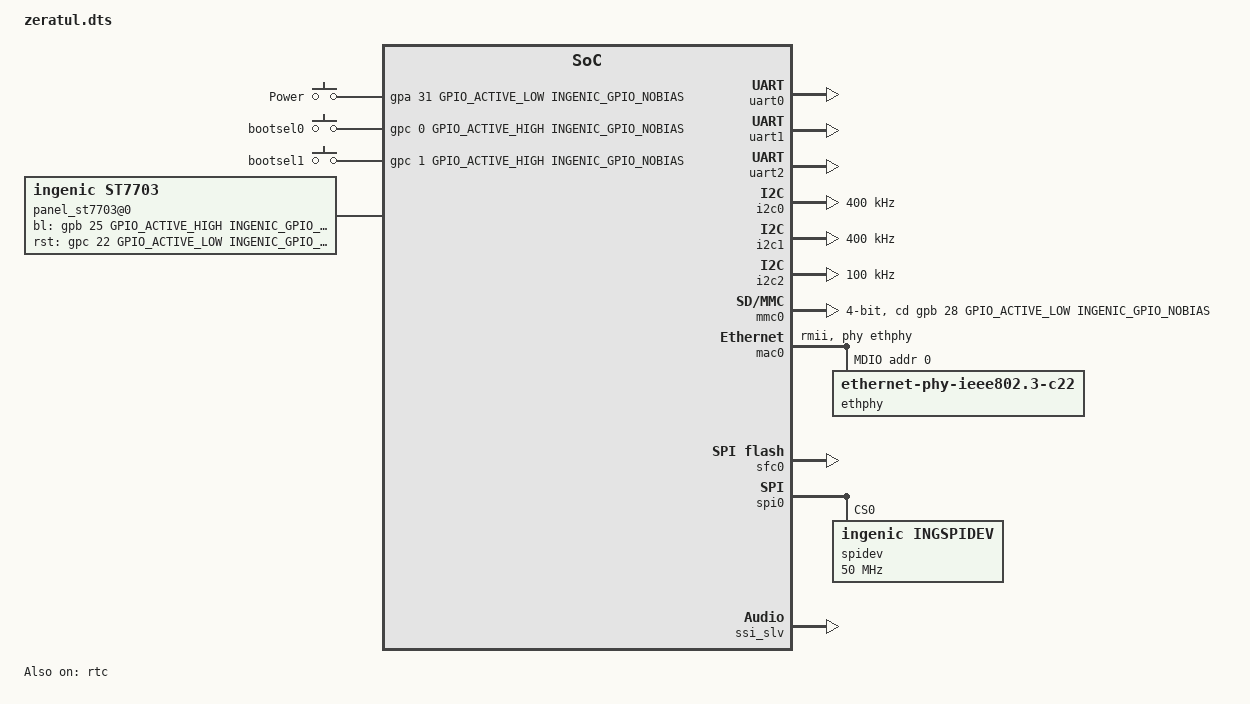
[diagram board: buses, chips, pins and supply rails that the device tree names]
/dts-v1/;

#include <dt-bindings/input/input.h>
#include "PRJ007.dtsi"
#include <dt-bindings/interrupt-controller/irq.h>

/ {
	compatible = "ingenic,zeratul", "ingenic,PRJ007";
	chosen {
		rng-seed = <0x3f3c0135 0x1101efde 0x1b64830c 0xbd77766 0x7e6a426b 0xebfd3b59 0x91fd33f6 0x2b47fe5>;
	};
};

&rtc {
	status = "okay";
};

&uart0 {
	status = "okay";
	pinctrl-names = "default";
	pinctrl-0 = <&uart0_pb>;
};

&uart1 {
	status = "okay";
	pinctrl-names = "default";
	pinctrl-0 = <&uart1_pb>;
};

&uart2 {
	status = "okay";
	pinctrl-names = "default";
	pinctrl-0 = <&uart2_pc>;
};

&i2c0 {
	pinctrl-0 = <&i2c0_pa>;
	pinctrl-names = "default";
	clock-frequency = <400000>;
	status = "okay";
};

&i2c1 {
	pinctrl-0 = <&i2c1_pa>;
	pinctrl-names = "default";
	clock-frequency = <400000>;
	status = "okay";
};

&i2c2 {
	pinctrl-0 = <&i2c2_pc>;
	pinctrl-names = "default";
	clock-frequency = <100000>;
	status = "okay";
};

&cpufreq {
	status = "okay";
	operating-points = <
		/*KHZ uV */
		1200000	900000
		750000	900000
		600000	900000
		500000	900000
		400000	900000
		375000	900000
		300000	900000
		200000	900000
			>;

};

//&pwm {
//	ingenic,pwm-outputs = <0>; /* <0 - 15> select which pwms are really used */
//}

&pdma {
	status = "okay";
};

&mmc0 {
	status = "okay";
	pinctrl-names = "default";
	max-frequency = <25000000>;
	voltage-ranges = <1800 3300>;

	cap-mmc-highspeed;
	//sd-uhs-sdr50;
	bus-width = <4>;
	//cd-inverted;
	//ingenic,removal-removable = <1>;
	//sdr-gpios = <&gpa 17 GPIO_ACTIVE_HIGH INGENIC_GPIO_NOBIAS>;
	cd-gpios = <&gpb 28 GPIO_ACTIVE_LOW INGENIC_GPIO_NOBIAS>;
	wp-gpios = <0>;
	pinctrl-0 = <&msc0_pb>;
	rst-gpios = <0>;
//	driver-strength = <8>;/* 4: 4ma, 8: 8ma, 12: 12ma */
//	gpio-pull-flag = <1>; /* 0: no pull, 1: pull up, 2: pull dowm */

	/*mmc-hs200-1_8v;
	bus-width = <8>;
	non-removable;
	pinctrl-0 = <&msc0_8bit_low>,<&msc0_8bit_high>;
	ingenic,poc-v1.8;*/

	/*mmc-hs400-1_8v;
	bus-width = <8>;
	non-removable;
	pinctrl-0 = <&msc0_8bit_low>,<&msc0_8bit_high>,<&msc0_ds>;
	ingenic,poc-v1.8;*/

	//pio-mode;
};

&mmc1 {
	status = "disable";
	pinctrl-names = "default";
	/*mmc-hs200-1_8v;*/
	cap-mmc-highspeed;
	max-frequency = <50000000>;
	bus-width = <4>;
	voltage-ranges = <1800 3300>;
	non-removable;
//	driver-strength = <8>;/* 4: 4ma, 8: 8ma, 12: 12ma */
//	gpio-pull-flag = <1>;/* 0: no pull, 1: pull up, 2: pull dowm */

	/* special property */
	ingenic,wp-gpios = <0>;
	ingenic,rst-gpios = <0>;
	pinctrl-0 = <&msc1_pc>;
};

&mac0 {
	pinctrl-names = "default", "reset";
	pinctrl-0 = <&mac0_rmii_p0_normal>, <&mac0_rmii_p1_normal>;
	pinctrl-1 = <&mac0_rmii_p0_rst>, <&mac0_rmii_p1_normal>;
	status = "okay";
	ingenic,rst-gpio = <&gpb 26 GPIO_ACTIVE_LOW INGENIC_GPIO_NOBIAS>;
	ingenic,rst-ms = <10>;
	ingenic,mac-mode = <RMII>;

	phy-handle = <&ethphy>;
	phy-mode = "rmii";
	macphy-rate = <25000000>;
	max-speed = <100>;

	mdio {
		compatible = "snps,dwmac-mdio";
		#address-cells = <1>;
		#size-cells = <0>;

		ethphy: ethernet-phy@0 {
			compatible = "ethernet-phy-ieee802.3-c22";
			reg = <0>;
		};

	};

	/* mdio { */
		/* compatible = "snps,dwmac-mdio"; */
		/* #address-cells = <1>; */
		/* #size-cells = <0>; */
		/* ethphy: ethernet-phy@0 { */
			/* reg = <0>; */
		/* }; */
	/* }; */

};

&sfc0 {
	status = "okay";
	pinctrl-names = "default";
	ingenic,sfc-max-frequency = <50000000>;
	ingenic,use_board_info      = /bits/ 8 <0>;
	ingenic,spiflash_param_offset = <0>;
	ingenic,spiflash_type = <0>;
	pinctrl-0 = <&sfc0_pa>;
	driver-strength = <8>;
};

&sfc1 {
	status = "disable";
	pinctrl-names = "default";
	ingenic,sfc-max-frequency = <50000000>;
	ingenic,use_board_info      = /bits/ 8 <0>;
	ingenic,spiflash_param_offset = <0>;
	ingenic,spiflash_type = <0>;
	pinctrl-0 = <&sfc1_pc1>;
	driver-strength = <8>;
};

&spi0 {
	status = "okay";
	pinctrl-names = "default";
	pinctrl-0 = <&spi0_pc>;
	// pinctrl-0 = <&spi0_pb>;
	spi-max-frequency = <48000000>;
	num-cs = <2>;
	cs-gpios = <0>, <0>;
	ingenic,chnl = <0>;
	ingenic,allow_cs_same = <1>;
	ingenic,bus_num = <0>;
	ingenic,has_dma_support = <1>;
	spidev: spidev@0 {
		compatible = "ingenic,ingspidev";
		reg = <0>;
		spi-max-frequency = <50000000>;
		status = "okay";
	};
};

&ssi_slv {
	status = "okay";
	pinctrl-names = "default";
	pinctrl-0 = <&ssi_slv_pc>;
	ingenic,has_dma_support = <0>;
};

&otg {
	g-use-dma;
	dr_mode = "otg";
	status = "disable";
};

&otg_phy {
	dr_mode = "otg";
	compatible = "ingenic,innophy", "syscon";
	/* ingenic,drvvbus-gpio = <&gpb 27 GPIO_ACTIVE_HIGH INGENIC_GPIO_NOBIAS>; */
	status = "disable";
};

/ {

	extclk: extclk {
		clock-frequency = <24000000>;
	};

	gpio_keys: gpio_keys {
		   compatible = "gpio-keys";

		   power {
			   label = "Power";
			   linux,code = <KEY_POWER>;
			   gpios = <&gpa 31 GPIO_ACTIVE_LOW INGENIC_GPIO_NOBIAS>;
			   gpio-key,wakeup;
		   };
            bootsel0 {
                label = "bootsel0";
                linux,code = <KEY_HOME>;
                gpios = <&gpc 0 GPIO_ACTIVE_HIGH INGENIC_GPIO_NOBIAS>;
            };

            bootsel1 {
                label = "bootsel1";
                linux,code = <KEY_BACK>;
                gpios = <&gpc 1 GPIO_ACTIVE_HIGH INGENIC_GPIO_NOBIAS>;
            };

	   };
};
/*
&el150 {
	status = "disable";
};
*/

/*
&dpu {
	status = "okay";
};
*/
/* t31 not have
/ {
	display-dpi {
		compatible = "simple-bus";
		#interrupt-cells = <1>;
		#address-cells = <1>;
		#size-cells = <1>;
		ranges = <>;
		panel_bm8766@0 {
			compatible = "ingenic,bm8766";
			pinctrl-names = "default";
			pinctrl-0 = <&tft_lcd_pd>;
			ingenic,bl-gpio = <&gpb 25 GPIO_ACTIVE_HIGH INGENIC_GPIO_NOBIAS>;
		};

	};
};
*/
/* t31 not have
/ {
	display-dbi {
		compatible = "simple-bus";
		#interrupt-cells = <1>;
		#address-cells = <1>;
		#size-cells = <1>;
		ranges = <>;
		panel_truly240240@0 {
			compatible = "ingenic,truly240240";
			pinctrl-names = "default";
			pinctrl-0 = <&smart_lcd_pd>;
			ingenic,rst-gpio = <&gpd 9 GPIO_ACTIVE_HIGH INGENIC_GPIO_NOBIAS>;
			ingenic,rd-gpio = <&gpd 12 GPIO_ACTIVE_HIGH INGENIC_GPIO_NOBIAS>;
			ingenic,cs-gpio = <&gpd 10 GPIO_ACTIVE_HIGH INGENIC_GPIO_NOBIAS>;
		};

		panel_st7789v240320@0 {
			compatible = "ingenic,st7789v240320";
			pinctrl-names = "default";
			pinctrl-0 = <&smart_lcd_pd>;
			ingenic,rst-gpio = <&gpd 9 GPIO_ACTIVE_HIGH INGENIC_GPIO_NOBIAS>;
			ingenic,rd-gpio = <&gpd 12 GPIO_ACTIVE_HIGH INGENIC_GPIO_NOBIAS>;
			ingenic,cs-gpio = <&gpd 10 GPIO_ACTIVE_HIGH INGENIC_GPIO_NOBIAS>;
			ingenic,bl-gpio = <&gpd 27 GPIO_ACTIVE_HIGH INGENIC_GPIO_NOBIAS>;
		};

	};
};
*/

/ {
	display-dsi {
		compatible = "simple-bus";
		#interrupt-cells = <1>;
		#address-cells = <1>;
		#size-cells = <1>;
		ranges = <>;
	/*
		panel_ek79007@0 {
			compatible = "ingenic,ek79007";
			ingenic,bl-gpio = <&gpd 26 GPIO_ACTIVE_HIGH INGENIC_GPIO_NOBIAS>;
			// ingenic,rst-gpio = <&gpd 17 GPIO_ACTIVE_LOW INGENIC_GPIO_NOBIAS>;
		};
*/
		panel_st7703@0 {
			compatible = "ingenic,st7703";
			ingenic,bl-gpio = <&gpb 25 GPIO_ACTIVE_HIGH INGENIC_GPIO_NOBIAS>;
			ingenic,rst-gpio = <&gpc 22 GPIO_ACTIVE_LOW INGENIC_GPIO_NOBIAS>;
		};
	};

};
